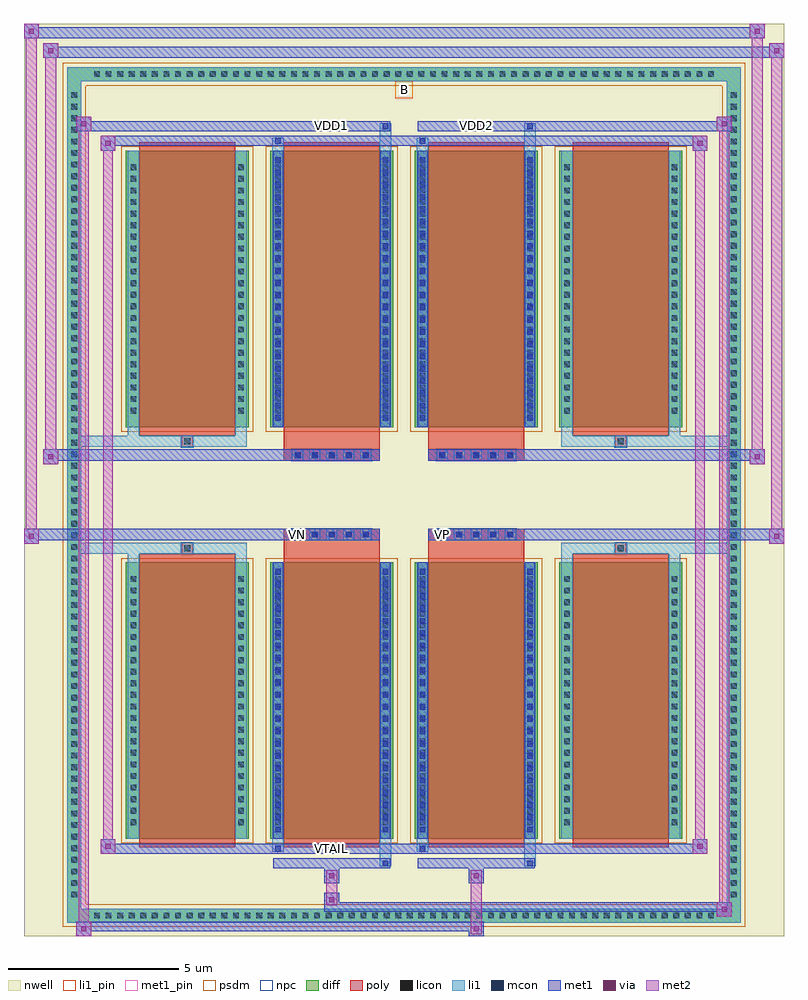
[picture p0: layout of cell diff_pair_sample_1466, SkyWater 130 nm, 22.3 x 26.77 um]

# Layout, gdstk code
import gdstk
lib = gdstk.Library(unit=1e-6, precision=5e-09)
def R(c, l, rs):  # rectangles x0, y0, x1, y1
    for r in rs: c.add(gdstk.rectangle(r[:2], r[2:], *l))
def A(c, l, x, y, w, h, nx, ny, dx, dy):  # array of equal rectangles
    R(c, l, [(x+i*dx, y+j*dy, x+i*dx+w, y+j*dy+h) for i in range(nx) for j in range(ny)])
def P(c, l, *ps):  # polygons
    for p in ps: c.add(gdstk.Polygon(p, *l))
nwell = (64, 20)
diff = (65, 20)
poly = (66, 20)
licon = (66, 44)
li1_pin = (67, 16)
li1 = (67, 20)
mcon = (67, 44)
met1_pin = (68, 16)
met1 = (68, 20)
via = (68, 44)
met2 = (69, 20)
psdm = (94, 20)
npc = (95, 20)

diff_pair_sample_1466 = lib.new_cell('diff_pair_sample_1466')
R(diff_pair_sample_1466, nwell, [(-11.15,-12.95,11.15,13.82), (-8.47,-11.14,-0.01,-0.8), (0.01,-11.14,8.47,-0.8), (-8.47,0.8,-0.01,11.14), (0.01,0.8,8.47,11.14)])
A(diff_pair_sample_1466, diff, -9.215, -12.55, 0.41, 0.41, 54, 2, 0.34, 24.69)
A(diff_pair_sample_1466, diff, -9.88, -11.935, 0.41, 0.41, 1, 70, 0, 0.34)
A(diff_pair_sample_1466, diff, 9.47, -11.935, 0.41, 0.41, 1, 70, 0, 0.34)
A(diff_pair_sample_1466, diff, -8.16, -10.095, 3.6, 8.11, 4, 2, 4.24, 12.08)
R(diff_pair_sample_1466, diff, [(-9.215,-12.55,9.215,-12.14), (-9.88,-11.935,-9.47,11.935), (9.47,-11.935,9.88,11.935), (-9.215,12.14,9.215,12.55)])
P(diff_pair_sample_1466, diff, [(9.88,12.55),(-9.88,12.55),(-9.88,-12.14),(-9.47,-12.14),(-9.47,12.14),(9.47,12.14),(9.47,-12.14),(-9.47,-12.14),(-9.88,-12.14),(-9.88,-12.55),(9.88,-12.55)])
A(diff_pair_sample_1466, poly, -7.77, -10.345, 2.82, 8.61, 4, 2, 4.24, 12.08)
A(diff_pair_sample_1466, poly, -3.285, -1.33, 0.33, 0.33, 5, 2, 0.5, 2.33)
A(diff_pair_sample_1466, poly, 0.955, -1.33, 0.33, 0.33, 5, 2, 0.5, 2.33)
R(diff_pair_sample_1466, poly, [(-6.525,-1.735,-6.195,-1.405), (-6.525,-1.735,-6.195,-1.405), (-3.53,-1.735,-0.71,-1.33), (0.71,-1.735,3.53,-1.33), (6.195,-1.735,6.525,-1.405), (6.195,-1.735,6.525,-1.405), (-3.53,-1.33,-0.71,-1), (0.71,-1.33,3.53,-1), (-3.53,1,-0.71,1.33), (0.71,1,3.53,1.33), (-3.53,1.33,-0.71,1.735), (0.71,1.33,3.53,1.735), (-6.525,1.405,-6.195,1.735), (-6.525,1.405,-6.195,1.735), (6.195,1.405,6.525,1.735), (6.195,1.405,6.525,1.735)])
A(diff_pair_sample_1466, licon, -9.095, -12.43, 0.17, 0.17, 54, 2, 0.34, 24.69)
A(diff_pair_sample_1466, licon, -9.76, -11.815, 0.17, 0.17, 1, 70, 0, 0.34)
A(diff_pair_sample_1466, licon, 9.59, -11.815, 0.17, 0.17, 1, 70, 0, 0.34)
A(diff_pair_sample_1466, licon, -8.02, -9.695, 0.17, 0.17, 1, 22, 0, 0.34)
A(diff_pair_sample_1466, licon, -4.87, -9.695, 0.17, 0.17, 1, 22, 0, 0.34)
A(diff_pair_sample_1466, licon, -3.78, -9.695, 0.17, 0.17, 1, 22, 0, 0.34)
A(diff_pair_sample_1466, licon, -0.63, -9.695, 0.17, 0.17, 1, 22, 0, 0.34)
A(diff_pair_sample_1466, licon, 0.46, -9.695, 0.17, 0.17, 1, 22, 0, 0.34)
A(diff_pair_sample_1466, licon, 3.61, -9.695, 0.17, 0.17, 1, 22, 0, 0.34)
A(diff_pair_sample_1466, licon, 4.7, -9.695, 0.17, 0.17, 1, 22, 0, 0.34)
A(diff_pair_sample_1466, licon, 7.85, -9.695, 0.17, 0.17, 1, 22, 0, 0.34)
A(diff_pair_sample_1466, licon, -3.205, -1.25, 0.17, 0.17, 5, 2, 0.5, 2.33)
A(diff_pair_sample_1466, licon, 1.035, -1.25, 0.17, 0.17, 5, 2, 0.5, 2.33)
A(diff_pair_sample_1466, licon, -8.02, 2.385, 0.17, 0.17, 1, 22, 0, 0.34)
A(diff_pair_sample_1466, licon, -4.87, 2.385, 0.17, 0.17, 1, 22, 0, 0.34)
A(diff_pair_sample_1466, licon, -3.78, 2.385, 0.17, 0.17, 1, 22, 0, 0.34)
A(diff_pair_sample_1466, licon, -0.63, 2.385, 0.17, 0.17, 1, 22, 0, 0.34)
A(diff_pair_sample_1466, licon, 0.46, 2.385, 0.17, 0.17, 1, 22, 0, 0.34)
A(diff_pair_sample_1466, licon, 3.61, 2.385, 0.17, 0.17, 1, 22, 0, 0.34)
A(diff_pair_sample_1466, licon, 4.7, 2.385, 0.17, 0.17, 1, 22, 0, 0.34)
A(diff_pair_sample_1466, licon, 7.85, 2.385, 0.17, 0.17, 1, 22, 0, 0.34)
R(diff_pair_sample_1466, licon, [(-6.445,-1.655,-6.275,-1.485), (6.275,-1.655,6.445,-1.485), (-6.445,1.485,-6.275,1.655), (6.275,1.485,6.445,1.655)])
R(diff_pair_sample_1466, li1_pin, [(-0.25,11.64,0.25,12.14)])
A(diff_pair_sample_1466, li1, -9.175, -12.51, 0.33, 0.33, 54, 2, 0.34, 24.69)
A(diff_pair_sample_1466, li1, -9.84, -11.895, 0.33, 0.33, 1, 70, 0, 0.34)
A(diff_pair_sample_1466, li1, 9.51, -11.895, 0.33, 0.33, 1, 70, 0, 0.34)
A(diff_pair_sample_1466, li1, -3.78, -9.905, 0.17, 0.17, 1, 22, 0, 0.36)
A(diff_pair_sample_1466, li1, -0.63, -9.905, 0.17, 0.17, 1, 22, 0, 0.36)
A(diff_pair_sample_1466, li1, 0.46, -9.905, 0.17, 0.17, 1, 22, 0, 0.36)
A(diff_pair_sample_1466, li1, 3.61, -9.905, 0.17, 0.17, 1, 22, 0, 0.36)
A(diff_pair_sample_1466, li1, -8.1, -9.775, 0.33, 0.33, 1, 22, 0, 0.34)
A(diff_pair_sample_1466, li1, -4.95, -9.775, 0.33, 0.33, 1, 22, 0, 0.34)
A(diff_pair_sample_1466, li1, -3.86, -9.775, 0.33, 0.33, 1, 22, 0, 0.34)
A(diff_pair_sample_1466, li1, -0.71, -9.775, 0.33, 0.33, 1, 22, 0, 0.34)
A(diff_pair_sample_1466, li1, 0.38, -9.775, 0.33, 0.33, 1, 22, 0, 0.34)
A(diff_pair_sample_1466, li1, 3.53, -9.775, 0.33, 0.33, 1, 22, 0, 0.34)
A(diff_pair_sample_1466, li1, 4.62, -9.775, 0.33, 0.33, 1, 22, 0, 0.34)
A(diff_pair_sample_1466, li1, 7.77, -9.775, 0.33, 0.33, 1, 22, 0, 0.34)
A(diff_pair_sample_1466, li1, -3.285, -1.33, 0.33, 0.33, 5, 2, 0.5, 2.33)
A(diff_pair_sample_1466, li1, 0.955, -1.33, 0.33, 0.33, 5, 2, 0.5, 2.33)
A(diff_pair_sample_1466, li1, -3.78, 2.175, 0.17, 0.17, 1, 22, 0, 0.36)
A(diff_pair_sample_1466, li1, -0.63, 2.175, 0.17, 0.17, 1, 22, 0, 0.36)
A(diff_pair_sample_1466, li1, 0.46, 2.175, 0.17, 0.17, 1, 22, 0, 0.36)
A(diff_pair_sample_1466, li1, 3.61, 2.175, 0.17, 0.17, 1, 22, 0, 0.36)
A(diff_pair_sample_1466, li1, -8.1, 2.305, 0.33, 0.33, 1, 22, 0, 0.34)
A(diff_pair_sample_1466, li1, -4.95, 2.305, 0.33, 0.33, 1, 22, 0, 0.34)
A(diff_pair_sample_1466, li1, -3.86, 2.305, 0.33, 0.33, 1, 22, 0, 0.34)
A(diff_pair_sample_1466, li1, -0.71, 2.305, 0.33, 0.33, 1, 22, 0, 0.34)
A(diff_pair_sample_1466, li1, 0.38, 2.305, 0.33, 0.33, 1, 22, 0, 0.34)
A(diff_pair_sample_1466, li1, 3.53, 2.305, 0.33, 0.33, 1, 22, 0, 0.34)
A(diff_pair_sample_1466, li1, 4.62, 2.305, 0.33, 0.33, 1, 22, 0, 0.34)
A(diff_pair_sample_1466, li1, 7.77, 2.305, 0.33, 0.33, 1, 22, 0, 0.34)
R(diff_pair_sample_1466, li1, [(-9.88,-12.55,-9.47,-12.14), (-9.88,-12.55,-9.47,-12.14), (-9.47,-12.55,9.47,-12.14), (9.47,-12.55,9.88,-12.14), (9.47,-12.55,9.88,-12.14), (-9.88,-12.14,-9.47,12.14), (9.47,-12.14,9.88,12.14), (-0.71,-10.9,-0.38,-10.095), (-0.63,-10.9,-0.46,-10.73), (3.53,-10.9,3.86,-10.095), (3.61,-10.9,3.78,-10.73), (-3.86,-10.47,-3.53,-10.095), (-3.78,-10.47,-3.61,-10.3), (0.38,-10.47,0.71,-10.095), (0.46,-10.47,0.63,-10.3), (-8.1,-10.095,-7.77,-1.985), (-4.95,-10.095,-4.62,-1.985), (-3.86,-10.095,-3.53,-1.985), (-0.71,-10.095,-0.38,-1.985), (0.38,-10.095,0.71,-1.985), (3.53,-10.095,3.86,-1.985), (4.62,-10.095,4.95,-1.985), (7.77,-10.095,8.1,-1.985), (-3.78,-9.905,-3.61,-2.175), (-0.63,-9.905,-0.46,-2.175), (0.46,-9.905,0.63,-2.175), (3.61,-9.905,3.78,-2.175), (-8.1,-1.985,-7.77,-1.405), (-4.95,-1.985,-4.62,-1.405), (4.62,-1.985,4.95,-1.405), (7.77,-1.985,8.1,-1.405), (-9.88,-1.735,-6.525,-1.405), (-8.1,-1.735,-6.525,-1.405), (-6.525,-1.735,-6.195,-1.405), (-6.195,-1.735,-4.62,-1.405), (4.62,-1.735,6.195,-1.405), (6.195,-1.735,6.525,-1.405), (6.195,-1.735,9.88,-1.405), (6.525,-1.735,8.1,-1.405), (-9.88,1.405,-6.525,1.735), (-8.1,1.405,-6.525,1.735), (-8.1,1.405,-7.77,1.985), (-6.525,1.405,-6.195,1.735), (-6.195,1.405,-4.62,1.735), (-4.95,1.405,-4.62,1.985), (4.62,1.405,6.195,1.735), (4.62,1.405,4.95,1.985), (6.195,1.405,6.525,1.735), (6.195,1.405,9.88,1.735), (6.525,1.405,8.1,1.735), (7.77,1.405,8.1,1.985), (-8.1,1.985,-7.77,10.095), (-4.95,1.985,-4.62,10.095), (-3.86,1.985,-3.53,10.095), (-0.71,1.985,-0.38,10.095), (0.38,1.985,0.71,10.095), (3.53,1.985,3.86,10.095), (4.62,1.985,4.95,10.095), (7.77,1.985,8.1,10.095), (-3.78,2.175,-3.61,9.905), (-0.63,2.175,-0.46,9.905), (0.46,2.175,0.63,9.905), (3.61,2.175,3.78,9.905), (-3.86,10.095,-3.53,10.47), (-0.71,10.095,-0.38,10.9), (0.38,10.095,0.71,10.47), (3.53,10.095,3.86,10.9), (-3.78,10.3,-3.61,10.47), (0.46,10.3,0.63,10.47), (-0.63,10.73,-0.46,10.9), (3.61,10.73,3.78,10.9), (-9.88,12.14,-9.47,12.55), (-9.88,12.14,-9.47,12.55), (-9.47,12.14,9.47,12.55), (9.47,12.14,9.88,12.55), (9.47,12.14,9.88,12.55)])
A(diff_pair_sample_1466, mcon, -3.78, -9.905, 0.17, 0.17, 1, 22, 0, 0.36)
A(diff_pair_sample_1466, mcon, -0.63, -9.905, 0.17, 0.17, 1, 22, 0, 0.36)
A(diff_pair_sample_1466, mcon, 0.46, -9.905, 0.17, 0.17, 1, 22, 0, 0.36)
A(diff_pair_sample_1466, mcon, 3.61, -9.905, 0.17, 0.17, 1, 22, 0, 0.36)
A(diff_pair_sample_1466, mcon, -3.205, -1.25, 0.17, 0.17, 5, 2, 0.5, 2.33)
A(diff_pair_sample_1466, mcon, 1.035, -1.25, 0.17, 0.17, 5, 2, 0.5, 2.33)
A(diff_pair_sample_1466, mcon, -3.78, 2.175, 0.17, 0.17, 1, 22, 0, 0.36)
A(diff_pair_sample_1466, mcon, -0.63, 2.175, 0.17, 0.17, 1, 22, 0, 0.36)
A(diff_pair_sample_1466, mcon, 0.46, 2.175, 0.17, 0.17, 1, 22, 0, 0.36)
A(diff_pair_sample_1466, mcon, 3.61, 2.175, 0.17, 0.17, 1, 22, 0, 0.36)
R(diff_pair_sample_1466, mcon, [(-0.63,-10.9,-0.46,-10.73), (3.61,-10.9,3.78,-10.73), (-3.78,-10.47,-3.61,-10.3), (0.46,-10.47,0.63,-10.3), (-3.78,10.3,-3.61,10.47), (0.46,10.3,0.63,10.47), (-0.63,10.73,-0.46,10.9), (3.61,10.73,3.78,10.9)])
R(diff_pair_sample_1466, met1_pin, [(-2.255,-10.51,-1.985,-10.24), (-3.255,-1.29,-2.985,-1.02), (0.985,-1.29,1.255,-1.02), (-2.255,10.69,-1.985,10.96), (1.985,10.69,2.255,10.96)])
A(diff_pair_sample_1466, met1, -3.84, -9.965, 0.29, 0.29, 1, 22, 0, 0.36)
A(diff_pair_sample_1466, met1, -0.69, -9.965, 0.29, 0.29, 1, 22, 0, 0.36)
A(diff_pair_sample_1466, met1, 0.4, -9.965, 0.29, 0.29, 1, 22, 0, 0.36)
A(diff_pair_sample_1466, met1, 3.55, -9.965, 0.29, 0.29, 1, 22, 0, 0.36)
A(diff_pair_sample_1466, met1, -3.265, -1.31, 0.29, 0.29, 5, 2, 0.5, 2.33)
A(diff_pair_sample_1466, met1, 0.975, -1.31, 0.29, 0.29, 5, 2, 0.5, 2.33)
A(diff_pair_sample_1466, met1, -3.84, 2.115, 0.29, 0.29, 1, 22, 0, 0.36)
A(diff_pair_sample_1466, met1, -0.69, 2.115, 0.29, 0.29, 1, 22, 0, 0.36)
A(diff_pair_sample_1466, met1, 0.4, 2.115, 0.29, 0.29, 1, 22, 0, 0.36)
A(diff_pair_sample_1466, met1, 3.55, 2.115, 0.29, 0.29, 1, 22, 0, 0.36)
R(diff_pair_sample_1466, met1, [(-9.61,-12.95,-9.18,-12.52), (1.905,-12.95,2.335,-12.52), (-9.61,-12.81,2.335,-12.52), (9.18,-12.38,9.61,-11.95), (-2.335,-12.24,9.61,-11.95), (-2.335,-12.1,-1.905,-11.67), (-2.335,-11.39,-1.905,-10.96), (1.905,-11.39,2.335,-10.96), (-3.84,-10.96,-0.4,-10.67), (-0.69,-10.96,-0.4,-10.67), (0.4,-10.96,3.84,-10.67), (3.55,-10.96,3.84,-10.67), (-8.9,-10.53,-8.47,-10.1), (-8.9,-10.53,-3.84,-10.24), (-3.84,-10.53,-3.55,-10.24), (-3.84,-10.53,-0.4,-10.24), (-0.4,-10.53,0.4,-10.24), (0.4,-10.53,0.69,-10.24), (0.4,-10.53,3.84,-10.24), (3.84,-10.53,8.9,-10.24), (8.47,-10.53,8.9,-10.1), (-3.84,-10.095,-3.55,-1.985), (-0.69,-10.095,-0.4,-1.985), (0.4,-10.095,0.69,-1.985), (3.55,-10.095,3.84,-1.985), (-11.15,-1.43,-10.72,-1), (10.72,-1.43,11.15,-1), (-11.15,-1.33,-0.71,-1), (-3.53,-1.33,-0.71,-1), (0.71,-1.33,3.53,-1), (0.71,-1.33,11.15,-1), (-10.58,0.9,-10.15,1.33), (10.15,0.9,10.58,1.33), (-10.58,1,-3.53,1.33), (-3.53,1,-0.71,1.33), (0.71,1,3.53,1.33), (3.53,1,10.58,1.33), (-3.84,1.985,-3.55,10.095), (-0.69,1.985,-0.4,10.095), (0.4,1.985,0.69,10.095), (3.55,1.985,3.84,10.095), (-8.9,10.1,-8.47,10.53), (8.47,10.1,8.9,10.53), (-8.9,10.24,-3.84,10.53), (-3.84,10.24,-3.55,10.53), (-3.84,10.24,-0.4,10.53), (-0.4,10.24,0.4,10.53), (0.4,10.24,0.69,10.53), (0.4,10.24,3.84,10.53), (3.84,10.24,8.9,10.53), (-9.61,10.67,-9.18,11.1), (-9.61,10.67,-3.84,10.96), (-3.84,10.67,-0.4,10.96), (-0.69,10.67,-0.4,10.96), (0.4,10.67,3.84,10.96), (3.55,10.67,3.84,10.96), (3.84,10.67,9.61,10.96), (9.18,10.67,9.61,11.1), (-10.58,12.82,-10.15,13.25), (-10.58,12.82,-8.47,13.15), (-8.47,12.82,8.47,13.15), (8.47,12.82,11.15,13.15), (10.72,12.82,11.15,13.25), (-11.15,13.39,-10.72,13.82), (-11.15,13.39,-8.47,13.72), (-8.47,13.39,8.47,13.72), (8.47,13.39,10.58,13.72), (10.15,13.39,10.58,13.82)])
R(diff_pair_sample_1466, via, [(-9.47,-12.81,-9.32,-12.66), (2.045,-12.81,2.195,-12.66), (9.32,-12.24,9.47,-12.09), (-2.195,-11.96,-2.045,-11.81), (-2.195,-11.25,-2.045,-11.1), (2.045,-11.25,2.195,-11.1), (-8.76,-10.39,-8.61,-10.24), (8.61,-10.39,8.76,-10.24), (-11.01,-1.29,-10.86,-1.14), (10.86,-1.29,11.01,-1.14), (-10.44,1.04,-10.29,1.19), (10.29,1.04,10.44,1.19), (-8.76,10.24,-8.61,10.39), (8.61,10.24,8.76,10.39), (-9.47,10.81,-9.32,10.96), (9.32,10.81,9.47,10.96), (-10.44,12.96,-10.29,13.11), (10.86,12.96,11.01,13.11), (-11.01,13.53,-10.86,13.68), (10.29,13.53,10.44,13.68)])
R(diff_pair_sample_1466, met2, [(-9.61,-12.95,-9.18,-12.52), (-9.54,-12.95,-9.25,11.1), (-9.25,-12.95,-9.18,-12.52), (-9.56,-12.9,-9.23,-12.57), (1.955,-12.9,2.285,-12.57), (1.955,-12.57,2.285,-11.34), (9.18,-12.38,9.61,-11.95), (9.25,-12.38,9.54,11.1), (9.54,-12.38,9.61,-11.95), (9.23,-12.33,9.56,-12), (-2.285,-12.05,-1.955,-11.72), (-2.285,-11.72,-1.955,-11.34), (-2.285,-11.34,-1.955,-11.01), (1.955,-11.34,2.285,-11.01), (-8.9,-10.53,-8.47,-10.1), (-8.83,-10.53,-8.54,10.53), (-8.54,-10.53,-8.47,-10.1), (8.47,-10.53,8.9,-10.1), (8.54,-10.53,8.83,10.53), (8.83,-10.53,8.9,-10.1), (-8.85,-10.48,-8.52,-10.15), (8.52,-10.48,8.85,-10.15), (-11.15,-1.43,-10.72,-1), (-11.1,-1.43,-10.77,13.82), (-10.77,-1.43,-10.72,-1), (10.72,-1.43,11.15,-1), (10.77,-1.43,11.1,13.25), (11.1,-1.43,11.15,-1), (-11.1,-1.38,-10.77,-1.05), (10.77,-1.38,11.1,-1.05), (-10.58,0.9,-10.15,1.33), (-10.53,0.9,-10.2,13.25), (-10.2,0.9,-10.15,1.33), (10.15,0.9,10.58,1.33), (10.2,0.9,10.53,13.82), (10.53,0.9,10.58,1.33), (-10.53,0.95,-10.2,1.28), (10.2,0.95,10.53,1.28), (-8.9,10.1,-8.47,10.53), (-8.54,10.1,-8.47,10.53), (8.47,10.1,8.9,10.53), (8.83,10.1,8.9,10.53), (-8.85,10.15,-8.52,10.48), (8.52,10.15,8.85,10.48), (-9.61,10.67,-9.18,11.1), (-9.25,10.67,-9.18,11.1), (9.18,10.67,9.61,11.1), (9.54,10.67,9.61,11.1), (-9.56,10.72,-9.23,11.05), (9.23,10.72,9.56,11.05), (-10.58,12.82,-10.15,13.25), (-10.2,12.82,-10.15,13.25), (10.72,12.82,11.15,13.25), (11.1,12.82,11.15,13.25), (-10.53,12.87,-10.2,13.2), (10.77,12.87,11.1,13.2), (-11.15,13.39,-10.72,13.82), (-10.77,13.39,-10.72,13.82), (10.15,13.39,10.58,13.82), (10.53,13.39,10.58,13.82), (-11.1,13.44,-10.77,13.77), (10.2,13.44,10.53,13.77)])
A(diff_pair_sample_1466, psdm, -8.29, -10.225, 3.86, 8.37, 4, 2, 4.24, 12.08)
P(diff_pair_sample_1466, psdm, [(10.01,12.68),(-10.01,12.68),(-10.01,-12.01),(-9.34,-12.01),(-9.34,12.01),(9.34,12.01),(9.34,-12.01),(-9.34,-12.01),(-10.01,-12.01),(-10.01,-12.68),(10.01,-12.68)])
A(diff_pair_sample_1466, npc, -3.305, -1.35, 0.37, 0.37, 5, 2, 0.5, 2.33)
A(diff_pair_sample_1466, npc, 0.935, -1.35, 0.37, 0.37, 5, 2, 0.5, 2.33)
R(diff_pair_sample_1466, npc, [(-6.545,-1.755,-6.175,-1.385), (6.175,-1.755,6.545,-1.385), (-3.305,-1.35,-2.435,-0.98), (-3.305,-1.35,-2.435,-0.98), (-2.805,-1.35,-1.935,-0.98), (-2.805,-1.35,-1.935,-0.98), (-2.305,-1.35,-1.435,-0.98), (-2.305,-1.35,-1.435,-0.98), (-1.805,-1.35,-0.935,-0.98), (-1.805,-1.35,-0.935,-0.98), (0.935,-1.35,1.805,-0.98), (0.935,-1.35,1.805,-0.98), (1.435,-1.35,2.305,-0.98), (1.435,-1.35,2.305,-0.98), (1.935,-1.35,2.805,-0.98), (1.935,-1.35,2.805,-0.98), (2.435,-1.35,3.305,-0.98), (2.435,-1.35,3.305,-0.98), (-3.305,0.98,-2.435,1.35), (-3.305,0.98,-2.435,1.35), (-2.805,0.98,-1.935,1.35), (-2.805,0.98,-1.935,1.35), (-2.305,0.98,-1.435,1.35), (-2.305,0.98,-1.435,1.35), (-1.805,0.98,-0.935,1.35), (-1.805,0.98,-0.935,1.35), (0.935,0.98,1.805,1.35), (0.935,0.98,1.805,1.35), (1.435,0.98,2.305,1.35), (1.435,0.98,2.305,1.35), (1.935,0.98,2.805,1.35), (1.935,0.98,2.805,1.35), (2.435,0.98,3.305,1.35), (2.435,0.98,3.305,1.35), (-6.545,1.385,-6.175,1.755), (6.175,1.385,6.545,1.755)])
diff_pair_sample_1466.add(gdstk.Label('VTAIL', (-2.12,-10.375), layer=68, texttype=5))
diff_pair_sample_1466.add(gdstk.Label('VN', (-3.12,-1.155), layer=68, texttype=5))
diff_pair_sample_1466.add(gdstk.Label('VP', (1.12,-1.155), layer=68, texttype=5))
diff_pair_sample_1466.add(gdstk.Label('B', (0,11.89), layer=67, texttype=5))
diff_pair_sample_1466.add(gdstk.Label('VDD2', (2.12,10.825), layer=68, texttype=5))
diff_pair_sample_1466.add(gdstk.Label('VDD1', (-2.12,10.825), layer=68, texttype=5))

lib.write_gds('diff_pair_sample_1466.gds')
